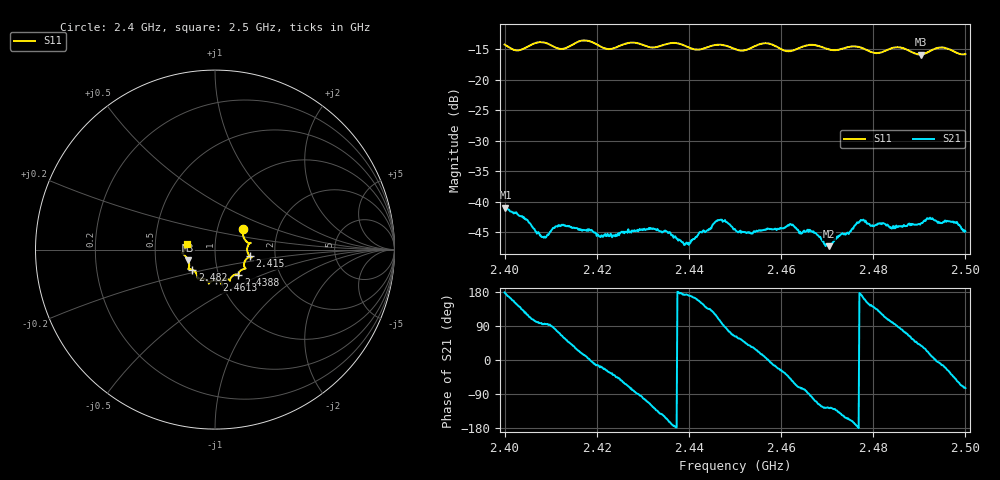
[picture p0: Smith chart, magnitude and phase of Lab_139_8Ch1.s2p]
# Hz S RI R 50
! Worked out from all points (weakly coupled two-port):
!   601 points, 2.4 GHz to 2.5 GHz, reference 50 ohm
!   highest |S21| = -40.98 dB at 2.4002 GHz (marker M1); lowest = -47.3 dB at 2.4703 GHz (marker M2)
!   lowest |S11| = -15.9 dB at 2.4903 GHz (marker M3), VSWR 1.38, Z = 36.8 - j4.45 ohm
!   |S11| at or under -10 dB: start of sweep to end of sweep
!   S12 and S22 are empty: the file has one direction only
!   S11 on the Smith chart (normalised r, x): 2.4 GHz: 1.33, +0.31; 2.415 GHz: 1.47, -0.11; 2.4388 GHz: 1.24, -0.36; 2.4613 GHz: 0.96, -0.34; 2.482 GHz: 0.76, -0.17; 2.5 GHz: 0.72, +0.05
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2.4e9  0.1577 0.1126  -0.00886 0.000249  0 0  0 0
2.400167e9  0.1571 0.1105  -0.00891 0.000723  0 0  0 0
2.403e9  0.1619 0.0627  -0.00621 0.00469  0 0  0 0
2.4085e9  0.1982 0.0378  -0.000382 0.00504  0 0  0 0
2.4115e9  0.1802 0.0135  0.00159 0.00602  0 0  0 0
2.415e9  0.1928 -0.036  0.00493 0.00365  0 0  0 0
2.416667e9  0.2039 -0.0441  0.00555 0.00183  0 0  0 0
2.421e9  0.1789 -0.0489  0.00499 -0.00174  0 0  0 0
2.433333e9  0.1325 -0.1313  -0.00424 -0.00396  0 0  0 0
2.438833e9  0.1299 -0.1409  -0.00451 0.000529  0 0  0 0
2.4465e9  0.084 -0.1745  -0.00204 0.00674  0 0  0 0
2.45e9  0.0685 -0.1646  0.00276 0.00527  0 0  0 0
2.456833e9  0.0384 -0.1949  0.00589 0.000419  0 0  0 0
2.461333e9  0.00807 -0.1709  0.00479 -0.00414  0 0  0 0
2.466667e9  -0.0343 -0.19  -0.000748 -0.00564  0 0  0 0
2.470333e9  -0.0461 -0.1711  -0.00257 -0.00347  0 0  0 0
2.4775e9  -0.0974 -0.1541  -0.00692 0.00115  0 0  0 0
2.482e9  -0.1262 -0.1118  -0.00324 0.00581  0 0  0 0
2.483333e9  -0.1397 -0.1089  -0.00177 0.006  0 0  0 0
2.490333e9  -0.1494 -0.059  0.00523 0.00406  0 0  0 0
2.496833e9  -0.1751 -0.0121  0.00545 -0.00413  0 0  0 0
2.5e9  -0.1585 0.0328  0.00156 -0.0055  0 0  0 0
